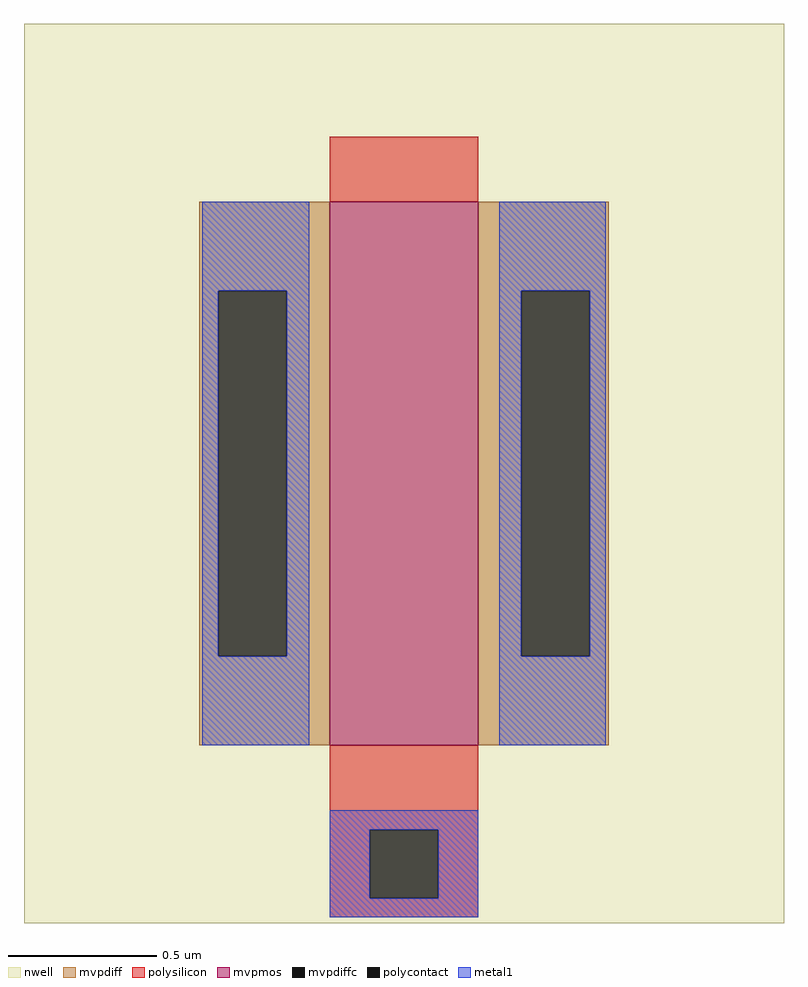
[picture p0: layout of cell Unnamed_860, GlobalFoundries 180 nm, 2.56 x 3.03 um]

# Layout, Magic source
magic
tech gf180mcuD
magscale 1 10
<< nwell >>
rect -192 -120 320 486
<< mvpmos >>
rect 14 0 114 366
<< mvpdiff >>
rect -74 306 14 366
rect -74 60 -61 306
rect -15 60 14 306
rect -74 0 14 60
rect 114 306 202 366
rect 114 60 143 306
rect 189 60 202 306
rect 114 0 202 60
<< mvpdiffc >>
rect -61 60 -15 306
rect 143 60 189 306
<< polysilicon >>
rect 14 366 114 410
rect 14 -57 114 0
rect 14 -103 41 -57
rect 87 -103 114 -57
rect 14 -116 114 -103
<< polycontact >>
rect 41 -103 87 -57
<< metal1 >>
rect -72 306 0 366
rect -72 60 -61 306
rect -15 60 0 306
rect -72 0 0 60
rect 128 306 200 366
rect 128 60 143 306
rect 189 60 200 306
rect 128 0 200 60
rect 14 -57 114 -44
rect 14 -103 41 -57
rect 87 -103 114 -57
rect 14 -116 114 -103
<< end >>
